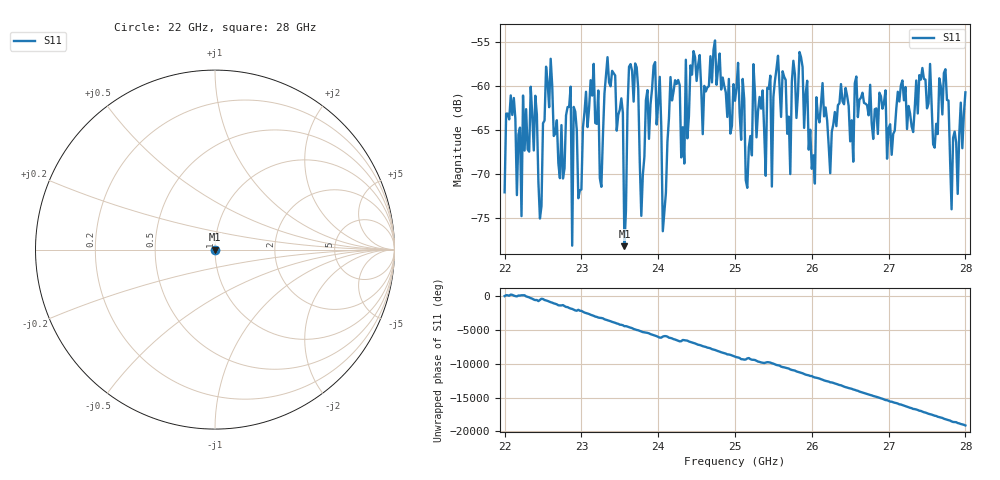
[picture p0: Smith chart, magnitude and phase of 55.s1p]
#  HZ  S  RI  R  50.00
! Rohde & Schwarz ZVA40 4Ports - Version 3.90 - 1145.1110k42 SN: 100403
! Date: 2023-10-04 06:36:47
! Measurement: S12
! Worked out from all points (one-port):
!   301 points, 22 GHz to 28 GHz, reference 50 ohm
!   lowest |S11| = -78.1 dB at 23.56 GHz (marker M1), VSWR 1.00, Z = 50 - j0.0124 ohm
!   |S11| at or under -10 dB: start of sweep to end of sweep
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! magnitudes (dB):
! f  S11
! 22 GHz  -72.0
! 22.12 GHz  -61.4
! 22.22 GHz  -74.7
! 22.34 GHz  -60.1
! 22.46 GHz  -75.0
! 22.6 GHz  -56.9
! 22.76 GHz  -70.5
! 23.5 GHz  -62.7
! 23.56 GHz  -78.1
! 23.62 GHz  -57.8
! 23.72 GHz  -57.9
! 23.78 GHz  -74.7
! 24.02 GHz  -59.0
! 24.06 GHz  -76.5
! 24.26 GHz  -59.3
! 25 GHz  -61.7
! 25.4 GHz  -70.2
! 25.46 GHz  -58.8
! 25.48 GHz  -71.4
! 25.56 GHz  -56.6
! 25.72 GHz  -70.0
! 25.76 GHz  -57.2
! 26.04 GHz  -71.1
! 26.5 GHz  -66.3
! 27.26 GHz  -62.3
! 27.74 GHz  -58.1
! 27.82 GHz  -74.0
! 28 GHz  -60.7
